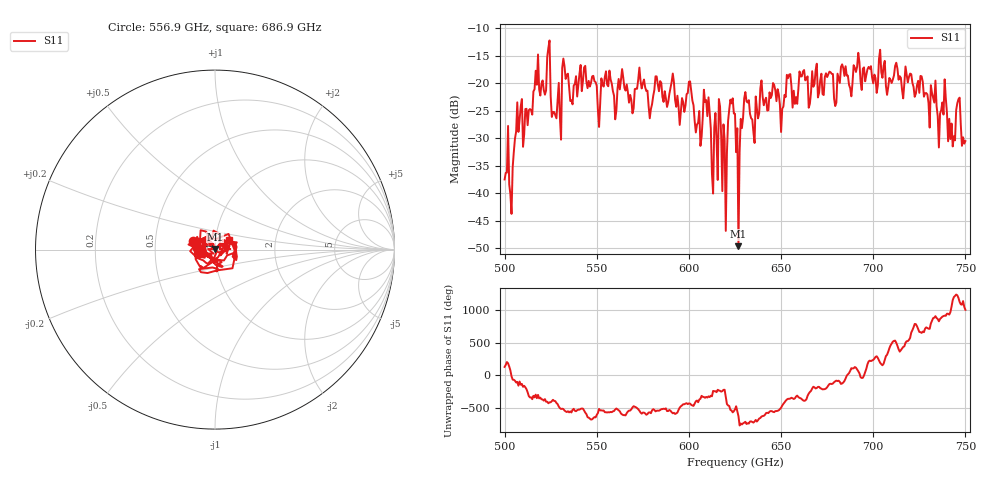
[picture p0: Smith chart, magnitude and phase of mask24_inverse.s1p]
!Created with skrf (http://scikit-rf.org).
# GHz S MA R 50.0
!freq magS11 angS11
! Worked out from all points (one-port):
!   401 points, 500 GHz to 750 GHz, reference 50 ohm
!   lowest |S11| = -49.7 dB at 626.9 GHz (marker M1), VSWR 1.01, Z = 49.9 + j0.323 ohm
!   |S11| at or under -10 dB: start of sweep to end of sweep
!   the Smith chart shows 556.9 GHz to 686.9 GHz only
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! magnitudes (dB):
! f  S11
! 500 GHz  -37.5
! 503.8 GHz  -43.8
! 508.1 GHz  -26.7
! 511.2 GHz  -24.7
! 516.9 GHz  -17.7
! 523.8 GHz  -13.6
! 526.9 GHz  -25.3
! 531.2 GHz  -17.2
! 562.5 GHz  -21.1
! 593.8 GHz  -22.3
! 600 GHz  -19.7
! 605.6 GHz  -25.1
! 609.4 GHz  -23.1
! 612.5 GHz  -36.5
! 617.5 GHz  -29.6
! 619.4 GHz  -30.3
! 622.5 GHz  -23.0
! 625 GHz  -25.6
! 626.9 GHz  -49.7
! 631.2 GHz  -23.3
! 634.4 GHz  -26.6
! 656.2 GHz  -24.4
! 687.5 GHz  -20.9
! 718.8 GHz  -19.8
! 738.8 GHz  -19.3
! 743.1 GHz  -31.5
! 746.2 GHz  -22.9
! 750 GHz  -30.5
